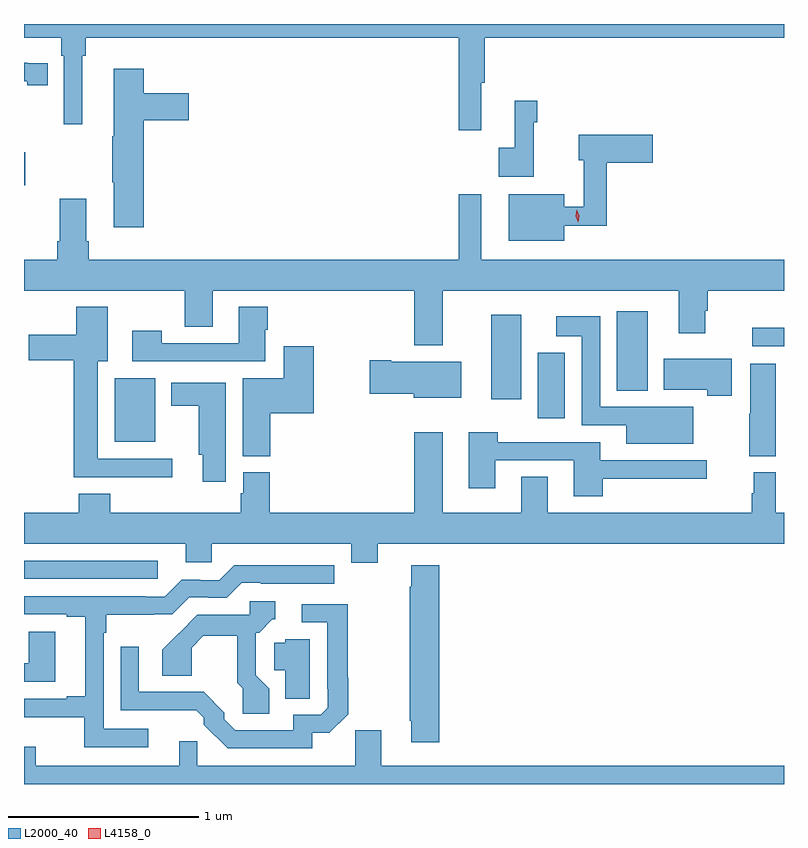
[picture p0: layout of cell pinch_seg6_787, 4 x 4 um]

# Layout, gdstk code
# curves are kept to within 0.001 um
import gdstk
lib = gdstk.Library(unit=1e-6, precision=1e-09)
def R(c, l, rs):  # rectangles x0, y0, x1, y1
    for r in rs: c.add(gdstk.rectangle(r[:2], r[2:], *l))
def P(c, l, *ps):  # polygons
    for p in ps: c.add(gdstk.Polygon(p, *l))
L2000_40 = (2000, 40)
L4158_0 = (4158, 0)

pinch_seg6_787 = lib.new_cell('pinch_seg6_787')
R(pinch_seg6_787, L2000_40, [(215.926,967.131,216.631,967.227), (216.404,967.853,216.616,968.188), (218.63,967.977,218.773,968.323), (218.384,968.076,218.542,968.521), (219.047,968.123,219.208,968.539), (219.759,968.355,219.926,968.453), (215.926,969.203,215.932,969.377)])
P(pinch_seg6_787, L2000_40, [(218.333,969.744),(218.351,969.744),(218.351,969.98),(219.926,969.98),(219.926,970.052),(215.926,970.052),(215.926,969.98),(216.122,969.98),(216.122,969.884),(216.135,969.884),(216.135,969.525),(216.232,969.525),(216.232,969.884),(216.251,969.884),(216.251,969.98),(218.215,969.98),(218.215,969.492),(218.333,969.492)],
  [(216.05,969.846),(215.942,969.846),(215.942,969.847),(215.926,969.847),(215.926,969.75),(215.942,969.75),(215.942,969.73),(216.05,969.73)],
  [(216.557,969.545),(216.793,969.545),(216.793,969.687),(216.557,969.687),(216.557,969.817),(216.398,969.817),(216.398,969.461),(216.391,969.461),(216.391,969.22),(216.398,969.22),(216.398,968.982),(216.557,968.982)],
  [(218.61,969.536),(218.627,969.536),(218.627,969.649),(218.51,969.649),(218.51,969.401),(218.424,969.401),(218.424,969.248),(218.61,969.248)],
  [(218.77,968.99),(218.993,968.99),(218.993,969.323),(219.235,969.323),(219.235,969.47),(218.846,969.47),(218.846,969.335),(218.872,969.335),(218.872,969.09),(218.77,969.09),(218.77,969.157),(218.477,969.157),(218.477,968.912),(218.77,968.912)],
  [(218.131,968.648),(219.371,968.648),(219.371,968.424),(219.511,968.424),(219.511,968.544),(219.524,968.544),(219.524,968.648),(219.926,968.648),(219.926,968.812),(218.332,968.812),(218.332,969.157),(218.215,969.157),(218.215,968.812),(216.266,968.812),(216.266,968.908),(216.253,968.908),(216.253,969.133),(216.113,969.133),(216.113,968.908),(216.101,968.908),(216.101,968.812),(215.926,968.812),(215.926,968.648),(216.772,968.648),(216.772,968.458),(216.919,968.458),(216.919,968.648),(217.979,968.648),(217.979,968.36),(218.131,968.36)],
  [(217.195,968.443),(217.208,968.443),(217.208,968.563),(217.055,968.563),(217.055,968.373),(216.651,968.373),(216.651,968.437),(216.495,968.437),(216.495,968.277),(217.195,968.277)],
  [(216.706,967.764),(216.313,967.764),(216.313,968.276),(216.367,968.276),(216.367,968.563),(216.2,968.563),(216.2,968.416),(215.952,968.416),(215.952,968.282),(216.188,968.282),(216.188,967.667),(216.706,967.667)],
  [(219.448,968.038),(219.204,968.038),(219.204,968.037),(218.958,968.037),(218.958,968.515),(218.727,968.515),(218.727,968.408),(218.862,968.408),(218.862,967.941),(219.095,967.941),(219.095,967.844),(219.448,967.844)],
  [(217.223,968.003),(217.45,968.003),(217.45,968.356),(217.292,968.356),(217.292,968.188),(217.076,968.188),(217.076,967.777),(217.223,967.777)],
  [(219.652,968.29),(219.293,968.29),(219.293,968.126),(219.523,968.126),(219.523,968.096),(219.652,968.096)],
  [(218.227,968.275),(217.858,968.275),(217.858,968.283),(217.746,968.283),(217.746,968.105),(217.976,968.105),(217.976,968.084),(218.227,968.084)],
  [(219.883,968.263),(219.749,968.263),(219.749,968),(219.742,968),(219.742,967.777),(219.883,967.777)],
  [(216.988,968.164),(216.701,968.164),(216.701,968.042),(216.845,968.042),(216.845,967.785),(216.866,967.785),(216.866,967.644),(216.988,967.644)],
  [(217.789,967.316),(219.926,967.316),(219.926,967.48),(219.883,967.48),(219.883,967.692),(219.767,967.692),(219.767,967.581),(219.755,967.581),(219.755,967.48),(218.683,967.48),(218.683,967.67),(218.543,967.67),(218.543,967.48),(218.131,967.48),(218.131,967.903),(217.979,967.903),(217.979,967.48),(217.22,967.48),(217.22,967.692),(217.079,967.692),(217.079,967.581),(217.067,967.581),(217.067,967.48),(216.38,967.48),(216.38,967.579),(216.215,967.579),(216.215,967.48),(215.926,967.48),(215.926,967.316),(216.776,967.316),(216.776,967.218),(216.915,967.218),(216.915,967.316),(217.649,967.316),(217.649,967.217),(217.789,967.217)],
  [(218.972,967.658),(219.52,967.658),(219.52,967.755),(218.959,967.755),(218.959,967.851),(218.42,967.851),(218.42,967.903),(218.267,967.903),(218.267,967.608),(218.407,967.608),(218.407,967.755),(218.819,967.755),(218.819,967.566),(218.972,967.566)],
  [(218.111,967.204),(217.964,967.204),(217.964,967.091),(217.957,967.091),(217.957,966.385),(217.964,966.385),(217.964,966.273),(218.111,966.273)],
  [(216.58,966.342),(216.345,966.342),(216.345,966.848),(216.358,966.848),(216.358,966.942),(216.608,966.942),(216.608,966.945),(216.705,966.945),(216.795,967.035),(216.896,967.035),(216.896,967.032),(216.993,967.032),(217.071,967.11),(217.171,967.11),(217.171,967.107),(217.558,967.107),(217.558,967.203),(217.033,967.204),(216.954,967.125),(216.854,967.125),(216.854,967.128),(216.756,967.128),(216.666,967.038),(216.566,967.038),(216.566,967.041),(215.926,967.041),(215.926,966.945),(216.152,966.945),(216.152,966.933),(216.248,966.933),(216.248,966.514),(216.152,966.514),(216.152,966.501),(215.926,966.501),(215.926,966.404),(216.244,966.404),(216.244,966.246),(216.58,966.246)],
  [(217.216,966.554),(217.146,966.624),(217.146,966.849),(217.164,966.849),(217.233,966.918),(217.249,966.918),(217.249,967.014),(217.113,967.014),(217.113,966.942),(216.839,966.942),(216.742,966.845),(216.741,966.846),(216.654,966.758),(216.654,966.622),(216.808,966.622),(216.808,966.77),(216.869,966.831),(217.048,966.831),(217.048,966.586),(217.077,966.557),(217.077,966.423),(217.216,966.423)],
  [(217.443,966.321),(217.532,966.321),(217.632,966.42),(217.632,966.611),(217.63,966.611),(217.63,966.999),(217.389,966.999),(217.389,966.903),(217.521,966.903),(217.521,966.553),(217.524,966.553),(217.524,966.453),(217.488,966.417),(217.344,966.417),(217.344,966.336),(217.038,966.336),(216.981,966.393),(216.981,966.427),(216.871,966.537),(216.531,966.537),(216.531,966.775),(216.435,966.775),(216.435,966.441),(216.832,966.44),(216.873,966.4),(216.873,966.365),(216.998,966.24),(217.443,966.24)],
  [(216.091,966.853),(215.951,966.853),(215.951,966.687),(215.926,966.687),(215.926,966.591),(216.091,966.591)],
  [(217.431,966.814),(217.302,966.814),(217.302,966.795),(217.242,966.795),(217.242,966.65),(217.301,966.65),(217.301,966.502),(217.431,966.502)],
  [(219.926,966.148),(217.807,966.148),(217.807,966.336),(217.669,966.336),(217.669,966.148),(216.839,966.148),(216.839,966.278),(216.743,966.278),(216.743,966.148),(215.989,966.148),(215.989,966.247),(215.926,966.247),(215.926,966.052),(219.926,966.052)])
P(pinch_seg6_787, L4158_0, [(218.843,969.008),(218.843,969.009),(218.829,969.04),(218.835,969.074),(218.835,969.075),(218.835,969.074),(218.849,969.043),(218.843,969.009)])

lib.write_gds('pinch_seg6_787.gds')
